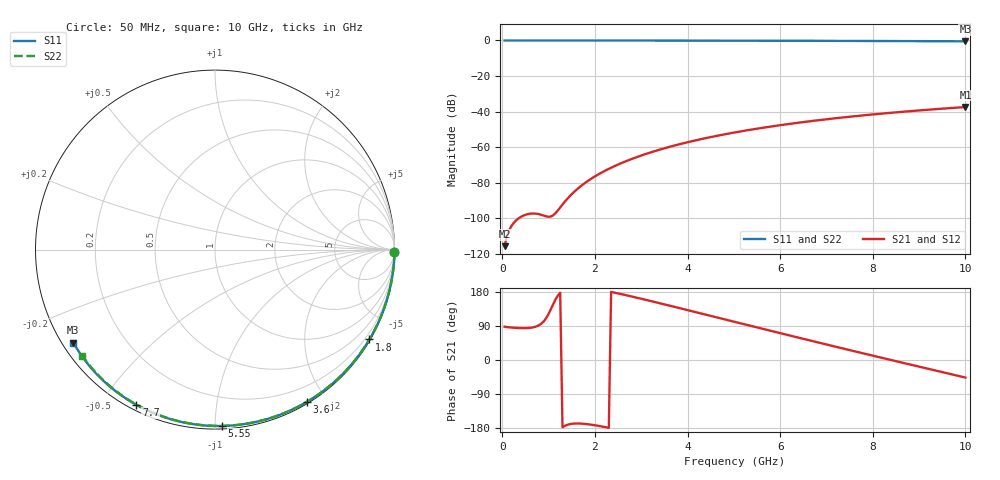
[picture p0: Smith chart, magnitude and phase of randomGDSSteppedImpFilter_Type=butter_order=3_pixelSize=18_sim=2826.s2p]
! freq	dB(S11)	phase(S11)	dB(S12)	phase(S12)
!  dB(S21)	phase(S21)	dB(S22)	phase(S22)
!S-par simulation data
#  GHz  S  DB  R 50
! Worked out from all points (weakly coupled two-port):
!   200 points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, 50 MHz to 10 GHz, reference 50 ohm
!   highest |S21| = -37.46 dB at 10 GHz (marker M1); lowest = -115.7 dB at 50 MHz (marker M2)
!   lowest |S11| = -0.5 dB at 10 GHz (marker M3), VSWR 35.02, Z = 1.56 - j15 ohm
!   |S11| at or under -10 dB: nowhere
!   |S22| runs from -0.5 to 0.0 dB; largest |S21 - S12| = 0
!   S11 on the Smith chart (normalised r, x): 50 MHz: open; 1.8 GHz: 0.03, -3.71; 3.6 GHz: 0.02, -1.77; 5.55 GHz: 0.02, -1.04; 7.7 GHz: 0.02, -0.61; 10 GHz: 0.03, -0.30
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0.05  -0.00 -0.9  -115.69 88.0  -115.69 88.0  -0.00 -0.8
0.45  -0.01 -7.7  -98.55 84.0  -98.55 84.0  -0.01 -7.3
0.9  -0.02 -15.3  -98.53 102.8  -98.53 102.8  -0.02 -14.6
1.3  -0.03 -21.9  -92.26 -177.5  -92.26 -177.5  -0.03 -21.0
1.75  -0.04 -29.4  -80.82 -168.2  -80.82 -168.2  -0.04 -28.2
1.8  -0.04 -30.2  -79.86 -168.8  -79.86 -168.8  -0.04 -28.9
1.95  -0.04 -32.7  -77.25 -171.2  -77.25 -171.2  -0.04 -31.3
2.1  -0.04 -35.1  -74.94 -174.3  -74.94 -174.3  -0.04 -33.6
2.3  -0.05 -38.3  -72.20 -179.0  -72.20 -179.0  -0.05 -36.8
2.5  -0.05 -41.6  -69.78 175.8  -69.78 175.8  -0.05 -39.9
2.9  -0.06 -48.0  -65.63 164.6  -65.63 164.6  -0.06 -46.0
3.4  -0.07 -55.8  -61.39 149.8  -61.39 149.8  -0.07 -53.5
3.6  -0.08 -58.9  -59.91 143.8  -59.91 143.8  -0.08 -56.5
4.3  -0.10 -69.5  -55.45 122.6  -55.45 122.6  -0.09 -66.7
5.05  -0.12 -80.5  -51.59 99.7  -51.59 99.7  -0.12 -77.4
5.55  -0.14 -87.7  -49.40 84.5  -49.40 84.5  -0.14 -84.3
6.1  -0.17 -95.3  -47.28 67.8  -47.28 67.8  -0.16 -91.7
6.7  -0.20 -103.6  -45.25 49.8  -45.25 49.8  -0.19 -99.7
7.7  -0.27 -116.9  -42.37 20.2  -42.37 20.2  -0.26 -112.6
8.35  -0.32 -125.4  -40.77 1.3  -40.77 1.3  -0.31 -120.8
9.2  -0.40 -136.3  -38.94 -23.3  -38.94 -23.3  -0.39 -131.4
10  -0.50 -146.7  -37.46 -46.3  -37.46 -46.3  -0.47 -141.4
